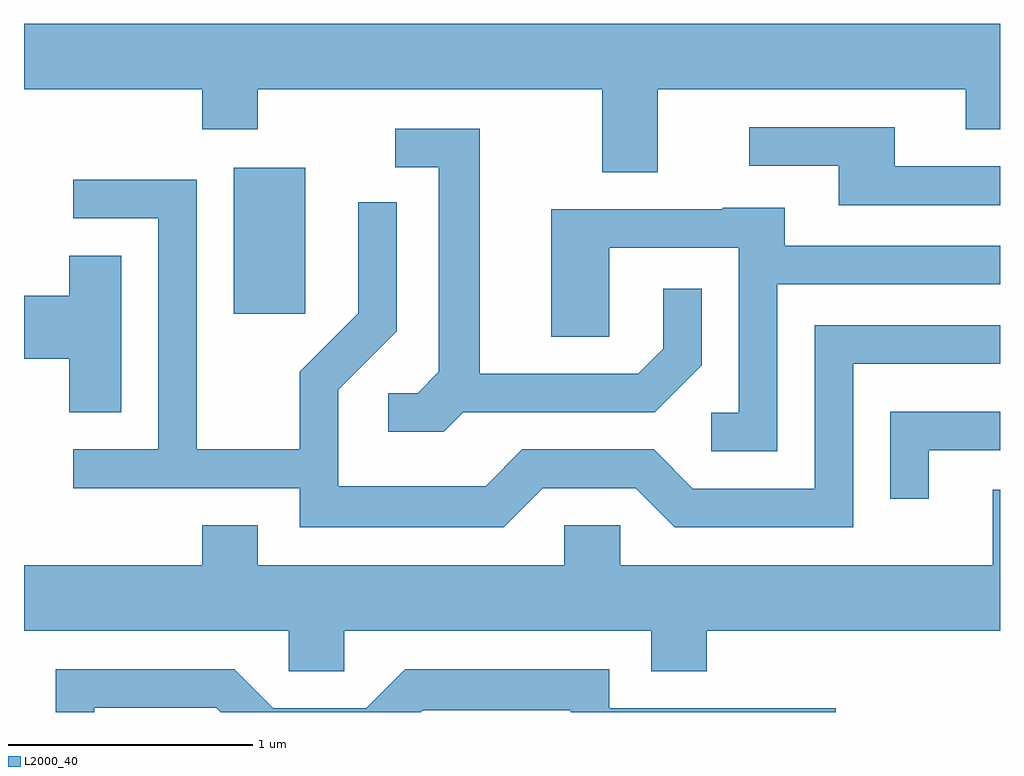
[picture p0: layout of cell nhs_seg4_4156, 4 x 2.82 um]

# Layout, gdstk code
import gdstk
lib = gdstk.Library(unit=1e-6, precision=1e-09)
def R(c, l, rs):  # rectangles x0, y0, x1, y1
    for r in rs: c.add(gdstk.rectangle(r[:2], r[2:], *l))
def P(c, l, *ps):  # polygons
    for p in ps: c.add(gdstk.Polygon(p, *l))
L2000_40 = (2000, 40)

nhs_seg4_4156 = lib.new_cell('nhs_seg4_4156')
R(nhs_seg4_4156, L2000_40, [(308.471,1271.616,308.764,1272.214)])
P(nhs_seg4_4156, L2000_40, [(310.209,1272.536),(311.471,1272.536),(311.471,1272.371),(311.611,1272.371),(311.611,1272.804),(307.611,1272.804),(307.611,1272.536),(308.341,1272.536),(308.341,1272.371),(308.569,1272.371),(308.569,1272.536),(309.981,1272.536),(309.981,1272.196),(310.209,1272.196)],
  [(311.611,1272.219),(311.179,1272.219),(311.179,1272.379),(310.583,1272.379),(310.583,1272.221),(310.951,1272.221),(310.951,1272.061),(311.611,1272.061)],
  [(309.412,1271.211),(310.197,1271.211),(310.389,1271.404),(310.389,1271.718),(310.231,1271.718),(310.231,1271.472),(310.129,1271.369),(309.479,1271.369),(309.479,1272.374),(309.133,1272.374),(309.133,1272.216),(309.311,1272.216),(309.311,1271.377),(309.224,1271.289),(309.103,1271.289),(309.103,1271.131),(309.332,1271.131)],
  [(309.737,1270.901),(310.119,1270.901),(310.279,1270.741),(311.009,1270.741),(311.009,1271.411),(311.611,1271.411),(311.611,1271.569),(310.851,1271.569),(310.851,1270.899),(310.352,1270.899),(310.192,1271.059),(309.654,1271.059),(309.504,1270.909),(308.899,1270.909),(308.899,1271.304),(309.139,1271.544),(309.139,1272.073),(308.981,1272.073),(308.981,1271.617),(308.741,1271.377),(308.741,1271.059),(308.319,1271.059),(308.319,1272.164),(307.813,1272.164),(307.813,1272.006),(308.161,1272.006),(308.161,1271.059),(307.813,1271.059),(307.813,1270.901),(308.741,1270.901),(308.741,1270.741),(309.577,1270.741)],
  [(310.699,1271.736),(311.611,1271.736),(311.611,1271.894),(310.729,1271.894),(310.729,1272.049),(310.475,1272.049),(310.475,1272.044),(309.771,1272.044),(309.771,1271.521),(310.009,1271.521),(310.009,1271.886),(310.541,1271.886),(310.541,1271.209),(310.428,1271.209),(310.428,1271.051),(310.699,1271.051)],
  [(308.009,1271.854),(307.796,1271.854),(307.796,1271.689),(307.611,1271.689),(307.611,1271.431),(307.796,1271.431),(307.796,1271.211),(308.009,1271.211)],
  [(311.319,1271.056),(311.611,1271.056),(311.611,1271.214),(311.161,1271.214),(311.161,1270.858),(311.319,1270.858)],
  [(308.924,1270.316),(310.181,1270.316),(310.181,1270.151),(310.409,1270.151),(310.409,1270.316),(311.611,1270.316),(311.611,1270.894),(311.581,1270.894),(311.581,1270.584),(310.054,1270.584),(310.054,1270.749),(309.826,1270.749),(309.826,1270.584),(308.569,1270.584),(308.569,1270.749),(308.341,1270.749),(308.341,1270.584),(307.611,1270.584),(307.611,1270.316),(308.696,1270.316),(308.696,1270.151),(308.924,1270.151)],
  [(307.899,1270.001),(308.399,1270.001),(308.418,1269.982),(309.238,1269.982),(309.247,1269.991),(309.851,1269.991),(309.851,1269.982),(310.938,1269.982),(310.938,1269.999),(310.009,1269.999),(310.009,1270.159),(309.174,1270.159),(309.014,1269.999),(308.632,1269.999),(308.472,1270.159),(307.741,1270.159),(307.741,1269.982),(307.899,1269.982)])

lib.write_gds('nhs_seg4_4156.gds')
